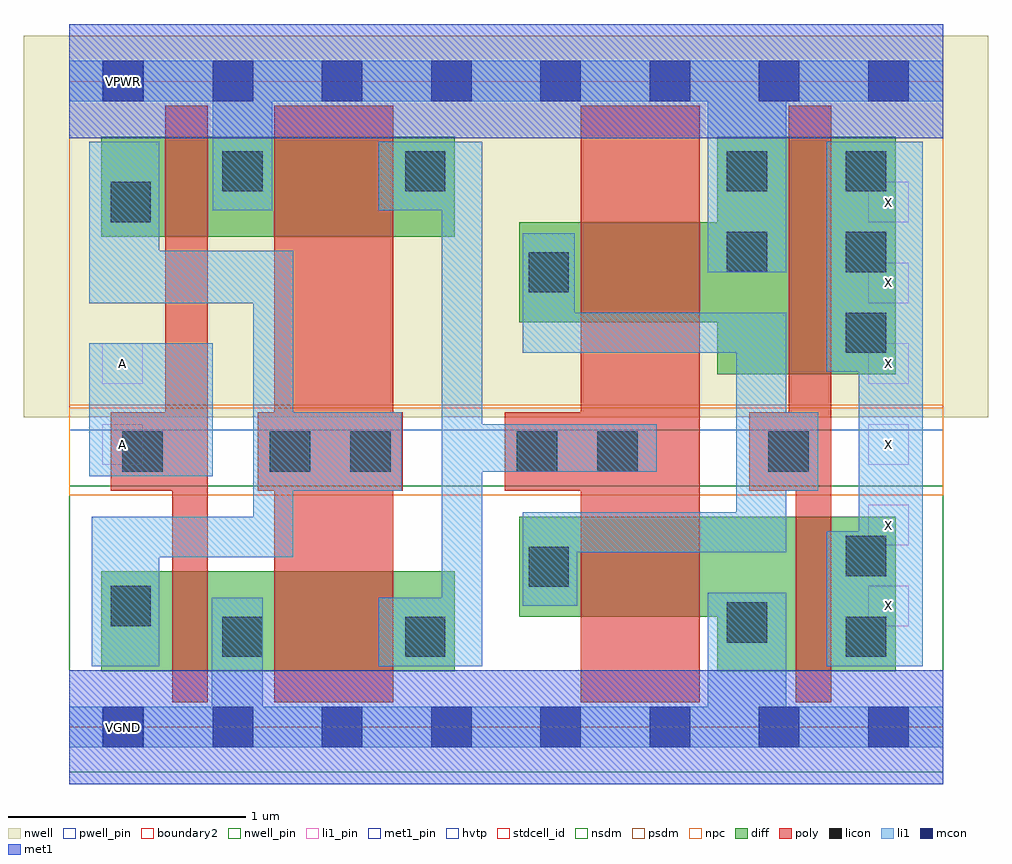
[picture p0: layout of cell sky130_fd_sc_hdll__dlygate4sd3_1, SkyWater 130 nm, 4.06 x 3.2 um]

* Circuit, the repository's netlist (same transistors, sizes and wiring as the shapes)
* Copyright 2020 The SkyWater PDK Authors
*
* Licensed under the Apache License, Version 2.0 (the "License");
* you may not use this file except in compliance with the License.
* You may obtain a copy of the License at
*
*     https://www.apache.org/licenses/LICENSE-2.0
*
* Unless required by applicable law or agreed to in writing, software
* distributed under the License is distributed on an "AS IS" BASIS,
* WITHOUT WARRANTIES OR CONDITIONS OF ANY KIND, either express or implied.
* See the License for the specific language governing permissions and
* limitations under the License.
*
* SPDX-License-Identifier: Apache-2.0

.SUBCKT sky130_fd_sc_hdll__dlygate4sd3_1 A VGND VNB VPB VPWR X
*.PININFO A:I VGND:I VNB:I VPB:I VPWR:I X:O
MMIN1 Ab net34 VGND VNB sky130_fd_pr__nfet_01v8 m=1 w=0.42U l=0.5U mult=1 sa=0.265
+ sb=0.265 sd=0.28 area=0.063 perim=1.14
MMIN2 X Ab VGND VNB sky130_fd_pr__nfet_01v8 m=1 w=0.65U l=0.15U mult=1 sa=0.265
+ sb=0.265 sd=0.28 area=0.063 perim=1.14
MI6 net34 net30 VGND VNB sky130_fd_pr__nfet_01v8 m=1 w=0.42U l=0.5U mult=1 sa=0.265
+ sb=0.265 sd=0.28 area=0.063 perim=1.14
MI9 net30 A VGND VNB sky130_fd_pr__nfet_01v8 m=1 w=0.42U l=0.15U mult=1 sa=0.265
+ sb=0.265 sd=0.28 area=0.063 perim=1.14
MMIP1 Ab net34 VPWR VPB sky130_fd_pr__pfet_01v8_hvt m=1 w=0.42U l=0.5U mult=1 sa=0.265
+ sb=0.265 sd=0.28 area=0.063 perim=1.14
MMIP2 X Ab VPWR VPB sky130_fd_pr__pfet_01v8_hvt m=1 w=1.0U l=0.18U mult=1 sa=0.265
+ sb=0.265 sd=0.28 area=0.063 perim=1.14
MI7 net34 net30 VPWR VPB sky130_fd_pr__pfet_01v8_hvt m=1 w=0.42U l=0.5U mult=1
+ sa=0.265 sb=0.265 sd=0.28 area=0.063 perim=1.14
MI8 net30 A VPWR VPB sky130_fd_pr__pfet_01v8_hvt m=1 w=0.42U l=0.18U mult=1 sa=0.265
+ sb=0.265 sd=0.28 area=0.063 perim=1.14
.ENDS sky130_fd_sc_hdll__dlygate4sd3_1

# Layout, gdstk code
import gdstk
lib = gdstk.Library(unit=1e-6, precision=1e-09)
def R(c, l, rs):  # rectangles x0, y0, x1, y1
    for r in rs: c.add(gdstk.rectangle(r[:2], r[2:], *l))
def A(c, l, x, y, w, h, nx, ny, dx, dy):  # array of equal rectangles
    R(c, l, [(x+i*dx, y+j*dy, x+i*dx+w, y+j*dy+h) for i in range(nx) for j in range(ny)])
def P(c, l, *ps):  # polygons
    for p in ps: c.add(gdstk.Polygon(p, *l))
nwell_pin = (64, 16)
nwell = (64, 20)
diff = (65, 20)
poly = (66, 20)
licon = (66, 44)
li1_pin = (67, 16)
li1 = (67, 20)
mcon = (67, 44)
met1_pin = (68, 16)
met1 = (68, 20)
hvtp = (78, 44)
stdcell_id = (81, 4)
nsdm = (93, 44)
psdm = (94, 20)
npc = (95, 20)
pwell_pin = (122, 16)
boundary2 = (236, 0)

sky130_fd_sc_hdll__dlyga = lib.new_cell('sky130_fd_sc_hdll__dlygate4sd3_1')
R(sky130_fd_sc_hdll__dlyga, nwell_pin, [(0.14,2.635,0.31,2.805)])
R(sky130_fd_sc_hdll__dlyga, nwell, [(-0.19,1.305,3.87,2.91)])
R(sky130_fd_sc_hdll__dlyga, diff, [(0.135,0.235,1.625,0.655), (0.135,2.065,1.625,2.485)])
P(sky130_fd_sc_hdll__dlyga, diff, [(3.48,2.485),(2.73,2.485),(2.73,2.125),(1.895,2.125),(1.895,1.705),(2.73,1.705),(2.73,1.485),(3.48,1.485)],
  [(3.48,0.885),(1.895,0.885),(1.895,0.465),(2.73,0.465),(2.73,0.235),(3.48,0.235)])
P(sky130_fd_sc_hdll__dlyga, poly, [(0.585,2.615),(0.405,2.615),(0.405,1.325),(0.175,1.325),(0.175,0.995),(0.435,0.995),(0.435,0.105),(0.585,0.105)],
  [(1.405,1.325),(1.365,1.325),(1.365,2.615),(0.865,2.615),(0.865,1.325),(0.795,1.325),(0.795,0.995),(0.865,0.995),(0.865,0.105),(1.365,0.105),(1.365,0.995),(1.405,0.995)],
  [(2.655,2.615),(2.155,2.615),(2.155,1.325),(1.835,1.325),(1.835,0.995),(2.155,0.995),(2.155,0.105),(2.655,0.105)],
  [(3.21,2.615),(3.03,2.615),(3.03,1.325),(2.865,1.325),(2.865,0.995),(3.06,0.995),(3.06,0.105),(3.21,0.105)])
A(sky130_fd_sc_hdll__dlyga, licon, 3.27, 1.575, 0.17, 0.17, 1, 3, 0, 0.34)
R(sky130_fd_sc_hdll__dlyga, licon, [(0.645,0.295,0.815,0.465), (1.415,0.295,1.585,0.465), (3.27,0.295,3.44,0.465), (2.77,0.355,2.94,0.525), (0.175,0.425,0.345,0.595), (1.935,0.59,2.105,0.76), (3.27,0.635,3.44,0.805), (0.225,1.075,0.395,1.245), (0.845,1.075,1.015,1.245), (1.185,1.075,1.355,1.245), (1.885,1.075,2.055,1.245), (2.225,1.075,2.395,1.245), (2.945,1.075,3.115,1.245), (1.935,1.83,2.105,2), (2.77,1.915,2.94,2.085), (0.175,2.125,0.345,2.295), (0.645,2.255,0.815,2.425), (1.415,2.255,1.585,2.425), (2.77,2.255,2.94,2.425)])
A(sky130_fd_sc_hdll__dlyga, li1_pin, 3.365, 0.425, 0.17, 0.17, 1, 6, 0, 0.34)
R(sky130_fd_sc_hdll__dlyga, li1_pin, [(0.14,1.105,0.31,1.275), (0.14,1.445,0.31,1.615)])
R(sky130_fd_sc_hdll__dlyga, li1, [(0.085,1.055,0.605,1.615)])
P(sky130_fd_sc_hdll__dlyga, li1, [(1.4,1.325),(0.945,1.325),(0.945,2.005),(0.38,2.005),(0.38,2.465),(0.085,2.465),(0.085,1.785),(0.775,1.785),(0.775,0.885),(0.095,0.885),(0.095,0.255),(0.38,0.255),(0.38,0.715),(0.945,0.715),(0.945,0.995),(1.4,0.995)],
  [(2.475,1.275),(1.74,1.275),(1.74,2.465),(1.305,2.465),(1.305,2.175),(1.57,2.175),(1.57,0.545),(1.305,0.545),(1.305,0.255),(1.74,0.255),(1.74,1.075),(2.475,1.075)],
  [(3.155,1.325),(3.02,1.325),(3.02,1.745),(2.13,1.745),(2.13,2.08),(1.91,2.08),(1.91,1.575),(2.81,1.575),(2.81,0.905),(1.91,0.905),(1.91,0.51),(2.14,0.51),(2.14,0.735),(3.02,0.735),(3.02,0.995),(3.155,0.995)],
  [(3.595,2.465),(3.19,2.465),(3.19,1.495),(3.325,1.495),(3.325,0.825),(3.19,0.825),(3.19,0.255),(3.595,0.255)],
  [(3.68,2.805),(0,2.805),(0,2.635),(0.605,2.635),(0.605,2.175),(0.855,2.175),(0.855,2.635),(2.69,2.635),(2.69,1.915),(3.02,1.915),(3.02,2.635),(3.68,2.635)],
  [(3.68,0.085),(3.02,0.085),(3.02,0.565),(2.69,0.565),(2.69,0.085),(0.815,0.085),(0.815,0.545),(0.6,0.545),(0.6,0.085),(0,0.085),(0,-0.085),(3.68,-0.085)])
A(sky130_fd_sc_hdll__dlyga, mcon, 0.145, -0.085, 0.17, 0.17, 8, 2, 0.46, 2.72)
R(sky130_fd_sc_hdll__dlyga, met1_pin, [(0.14,-0.085,0.31,0.085), (0.14,2.635,0.31,2.805)])
R(sky130_fd_sc_hdll__dlyga, met1, [(0,-0.24,3.68,0.24), (0,2.48,3.68,2.96)])
R(sky130_fd_sc_hdll__dlyga, hvtp, [(0,1.25,3.68,2.72)])
R(sky130_fd_sc_hdll__dlyga, stdcell_id, [(0,0,3.68,2.72)])
R(sky130_fd_sc_hdll__dlyga, nsdm, [(0,-0.19,3.68,1.015)])
R(sky130_fd_sc_hdll__dlyga, psdm, [(0,1.355,3.68,2.91)])
R(sky130_fd_sc_hdll__dlyga, npc, [(0,0.975,3.68,1.345)])
R(sky130_fd_sc_hdll__dlyga, pwell_pin, [(0.14,-0.085,0.31,0.085)])
R(sky130_fd_sc_hdll__dlyga, boundary2, [(0,0,3.68,2.72)])
sky130_fd_sc_hdll__dlyga.add(gdstk.Label('A', (0.225,1.53), layer=67, texttype=5))
sky130_fd_sc_hdll__dlyga.add(gdstk.Label('X', (3.45,2.21), layer=67, texttype=5))
sky130_fd_sc_hdll__dlyga.add(gdstk.Label('X', (3.45,1.87), layer=67, texttype=5))
sky130_fd_sc_hdll__dlyga.add(gdstk.Label('X', (3.45,0.51), layer=67, texttype=5))
sky130_fd_sc_hdll__dlyga.add(gdstk.Label('A', (0.225,1.19), layer=67, texttype=5))
sky130_fd_sc_hdll__dlyga.add(gdstk.Label('X', (3.45,0.85), layer=67, texttype=5))
sky130_fd_sc_hdll__dlyga.add(gdstk.Label('X', (3.45,1.19), layer=67, texttype=5))
sky130_fd_sc_hdll__dlyga.add(gdstk.Label('X', (3.45,1.53), layer=67, texttype=5))
sky130_fd_sc_hdll__dlyga.add(gdstk.Label('VPWR', (0.23,2.72), layer=68, texttype=5))
sky130_fd_sc_hdll__dlyga.add(gdstk.Label('VGND', (0.23,0), layer=68, texttype=5))
sky130_fd_sc_hdll__dlyga.add(gdstk.Label('VPB', (0.225,2.72), layer=64, texttype=5))
sky130_fd_sc_hdll__dlyga.add(gdstk.Label('VNB', (0.225,0), layer=64, texttype=59))
sky130_fd_sc_hdll__dlyga.add(gdstk.Label('dlygate4sd3_1', (0,0), layer=83, texttype=44))

lib.write_gds('sky130_fd_sc_hdll__dlygate4sd3_1.gds')
